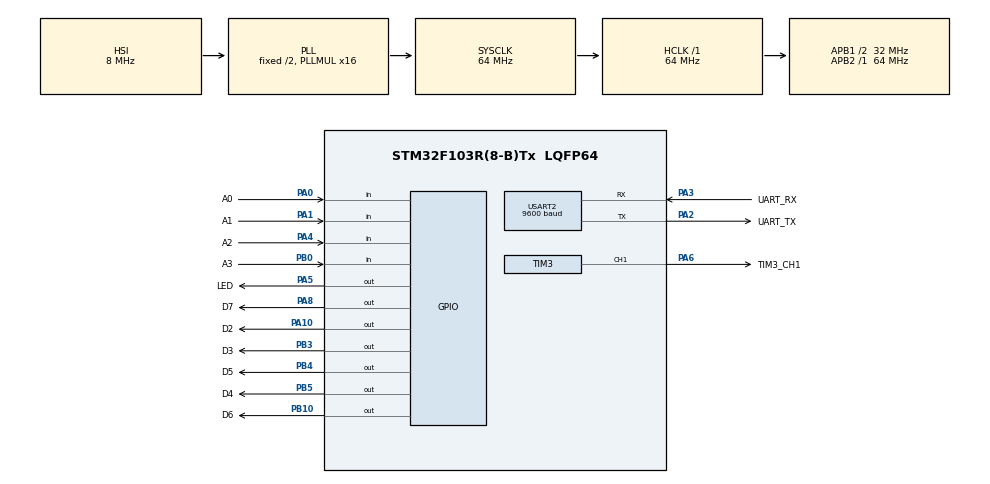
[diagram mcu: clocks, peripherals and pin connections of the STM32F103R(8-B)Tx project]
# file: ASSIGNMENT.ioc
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Mcu.Family=STM32F1
Mcu.Name=STM32F103R(8-B)Tx
Mcu.Package=LQFP64
NVIC.PriorityGroup=NVIC_PRIORITYGROUP_4
NVIC.TIM2_IRQn=true\:0\:0\:false\:false\:true\:true\:true
NVIC.TIM3_IRQn=true\:0\:0\:false\:false\:true\:true\:true
NVIC.USART2_IRQn=true\:0\:0\:false\:false\:true\:true\:true
PA0-WKUP.GPIO_Label=A0
PA0-WKUP.GPIO_PuPd=GPIO_PULLUP
PA0-WKUP.Signal=GPIO_Input
PA1.GPIO_Label=A1
PA1.GPIO_PuPd=GPIO_PULLUP
PA1.Signal=GPIO_Input
PA10.GPIO_Label=D2
PA10.Signal=GPIO_Output
PA13.Mode=Serial_Wire
PA13.Signal=SYS_JTMS-SWDIO
PA14.Mode=Serial_Wire
PA14.Signal=SYS_JTCK-SWCLK
PA2.GPIO_Label=UART_TX
PA2.Mode=Asynchronous
PA2.Signal=USART2_TX
PA3.GPIO_Label=UART_RX
PA3.Mode=Asynchronous
PA3.Signal=USART2_RX
PA4.GPIO_Label=A2
PA4.GPIO_PuPd=GPIO_PULLUP
PA4.Signal=GPIO_Input
PA5.GPIO_Label=LED
PA5.Signal=GPIO_Output
PA6.GPIO_Label=TIM3_CH1
PA6.Signal=S_TIM3_CH1
PA8.GPIO_Label=D7
PA8.Signal=GPIO_Output
PB0.GPIO_Label=A3
PB0.GPIO_PuPd=GPIO_PULLUP
PB0.Signal=GPIO_Input
PB10.GPIO_Label=D6
PB10.Signal=GPIO_Output
PB3.GPIO_Label=D3
PB3.Signal=GPIO_Output
PB4.GPIO_Label=D5
PB4.Signal=GPIO_Output
PB5.GPIO_Label=D4
PB5.Signal=GPIO_Output
ProjectManager.HeapSize=0x200
ProjectManager.StackSize=0x400
ProjectManager.TargetToolchain=STM32CubeIDE
RCC.AHBFreq_Value=64000000
RCC.APB1CLKDivider=RCC_HCLK_DIV2
RCC.APB1Freq_Value=32000000
RCC.APB1TimFreq_Value=64000000
RCC.APB2Freq_Value=64000000
RCC.APB2TimFreq_Value=64000000
RCC.HCLKFreq_Value=64000000
RCC.PLLMUL=RCC_PLL_MUL16
RCC.SYSCLKFreq_VALUE=64000000
RCC.SYSCLKSource=RCC_SYSCLKSOURCE_PLLCLK
RCC.USBFreq_Value=64000000
SH.S_TIM3_CH1.0=TIM3_CH1,PWM Generation1 CH1
TIM2.AutoReloadPreload=TIM_AUTORELOAD_PRELOAD_DISABLE
TIM2.Period=9
TIM2.Prescaler=63999
TIM3.AutoReloadPreload=TIM_AUTORELOAD_PRELOAD_ENABLE
TIM3.Channel-PWM\ Generation1\ CH1=TIM_CHANNEL_1
TIM3.Period=999
TIM3.Prescaler=63
USART2.BaudRate=9600
USART2.VirtualMode=VM_ASYNC
VP_TIM2_VS_ClockSourceINT.Mode=Internal
VP_TIM3_VS_ClockSourceINT.Mode=Internal
board=custom

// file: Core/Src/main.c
/* USER CODE BEGIN Header */
/**
  ******************************************************************************
  * @file           : main.c
  * @brief          : Main program body
  ******************************************************************************
  * @attention
  *
  * <h2><center>&copy; Copyright (c) 2022 STMicroelectronics.
  * All rights reserved.</center></h2>
  *
  * This software component is licensed by ST under BSD 3-Clause license,
  * the "License"; You may not use this file except in compliance with the
  * License. You may obtain a copy of the License at:
  *                        opensource.org/licenses/BSD-3-Clause
  *
  ******************************************************************************
  */
/* USER CODE END Header */
#include "main.h"

/* USER CODE BEGIN Includes */
#include "global.h"
#include "pedestrian.h"
#include "fsm_system.h"
/* USER CODE END Includes */

TIM_HandleTypeDef htim2;
TIM_HandleTypeDef htim3;

UART_HandleTypeDef huart2;

void SystemClock_Config(void);
static void MX_GPIO_Init(void);
static void MX_TIM2_Init(void);
static void MX_TIM3_Init(void);
static void MX_USART2_UART_Init(void);

int main(void)
{

  /* MCU Configuration--------------------------------------------------------*/

  /* Reset of all peripherals, Initializes the Flash interface and the Systick. */
  HAL_Init();

  /* Configure the system clock */
  SystemClock_Config();

  /* Initialize all configured peripherals */
  MX_GPIO_Init();
  MX_TIM2_Init();
  MX_TIM3_Init();
  MX_USART2_UART_Init();
  /* USER CODE BEGIN 2 */
  status = INIT;
  HAL_TIM_PWM_Start(&htim3, TIM_CHANNEL_1);
  HAL_TIM_Base_Start_IT(&htim2);
  /* USER CODE END 2 */

  /* Infinite loop */
  /* USER CODE BEGIN WHILE */
  setTimer1(100);
  while (1)
  {
    /* USER CODE END WHILE */

    /* USER CODE BEGIN 3 */
	  if(timer1_flag){
		  testLed();
		  setTimer1(500);
	  }
	  RunSystem();
	  if(status_pedestrian == PEDES_3 && status == PEDES_MODE){
		  if(timer4_flag){
			  __HAL_TIM_SET_COMPARE(&htim3, TIM_CHANNEL_1, count_ped_buzzer);
				  count_ped_buzzer += 5;
				  setTimer4(500);
		  }

	  }
	  else {
		  __HAL_TIM_SET_COMPARE(&htim3, TIM_CHANNEL_1, 0);

	  }
  }
  /* USER CODE END 3 */
}

void SystemClock_Config(void)
{
  RCC_OscInitTypeDef RCC_OscInitStruct = {0};
  RCC_ClkInitTypeDef RCC_ClkInitStruct = {0};

  /** Initializes the RCC Oscillators according to the specified parameters
  * in the RCC_OscInitTypeDef structure.
  */
  RCC_OscInitStruct.OscillatorType = RCC_OSCILLATORTYPE_HSI;
  RCC_OscInitStruct.HSIState = RCC_HSI_ON;
  RCC_OscInitStruct.HSICalibrationValue = RCC_HSICALIBRATION_DEFAULT;
  RCC_OscInitStruct.PLL.PLLState = RCC_PLL_ON;
  RCC_OscInitStruct.PLL.PLLSource = RCC_PLLSOURCE_HSI_DIV2;
  RCC_OscInitStruct.PLL.PLLMUL = RCC_PLL_MUL16;
  if (HAL_RCC_OscConfig(&RCC_OscInitStruct) != HAL_OK)
  {
    Error_Handler();
  }
  /** Initializes the CPU, AHB and APB buses clocks
  */
  RCC_ClkInitStruct.ClockType = RCC_CLOCKTYPE_HCLK|RCC_CLOCKTYPE_SYSCLK
                              |RCC_CLOCKTYPE_PCLK1|RCC_CLOCKTYPE_PCLK2;
  RCC_ClkInitStruct.SYSCLKSource = RCC_SYSCLKSOURCE_PLLCLK;
  RCC_ClkInitStruct.AHBCLKDivider = RCC_SYSCLK_DIV1;
  RCC_ClkInitStruct.APB1CLKDivider = RCC_HCLK_DIV2;
  RCC_ClkInitStruct.APB2CLKDivider = RCC_HCLK_DIV1;

  if (HAL_RCC_ClockConfig(&RCC_ClkInitStruct, FLASH_LATENCY_2) != HAL_OK)
  {
    Error_Handler();
  }
}

static void MX_TIM2_Init(void)
{

  TIM_ClockConfigTypeDef sClockSourceConfig = {0};
  TIM_MasterConfigTypeDef sMasterConfig = {0};

  htim2.Instance = TIM2;
  htim2.Init.Prescaler = 63999;
  htim2.Init.CounterMode = TIM_COUNTERMODE_UP;
  htim2.Init.Period = 9;
  htim2.Init.ClockDivision = TIM_CLOCKDIVISION_DIV1;
  htim2.Init.AutoReloadPreload = TIM_AUTORELOAD_PRELOAD_DISABLE;
  if (HAL_TIM_Base_Init(&htim2) != HAL_OK)
  {
    Error_Handler();
  }
  sClockSourceConfig.ClockSource = TIM_CLOCKSOURCE_INTERNAL;
  if (HAL_TIM_ConfigClockSource(&htim2, &sClockSourceConfig) != HAL_OK)
  {
    Error_Handler();
  }
  sMasterConfig.MasterOutputTrigger = TIM_TRGO_RESET;
  sMasterConfig.MasterSlaveMode = TIM_MASTERSLAVEMODE_DISABLE;
  if (HAL_TIMEx_MasterConfigSynchronization(&htim2, &sMasterConfig) != HAL_OK)
  {
    Error_Handler();
  }

}

static void MX_TIM3_Init(void)
{

  TIM_ClockConfigTypeDef sClockSourceConfig = {0};
  TIM_MasterConfigTypeDef sMasterConfig = {0};
  TIM_OC_InitTypeDef sConfigOC = {0};

  htim3.Instance = TIM3;
  htim3.Init.Prescaler = 63;
  htim3.Init.CounterMode = TIM_COUNTERMODE_UP;
  htim3.Init.Period = 999;
  htim3.Init.ClockDivision = TIM_CLOCKDIVISION_DIV1;
  htim3.Init.AutoReloadPreload = TIM_AUTORELOAD_PRELOAD_ENABLE;
  if (HAL_TIM_Base_Init(&htim3) != HAL_OK)
  {
    Error_Handler();
  }
  sClockSourceConfig.ClockSource = TIM_CLOCKSOURCE_INTERNAL;
  if (HAL_TIM_ConfigClockSource(&htim3, &sClockSourceConfig) != HAL_OK)
  {
    Error_Handler();
  }
  if (HAL_TIM_PWM_Init(&htim3) != HAL_OK)
  {
    Error_Handler();
  }
  sMasterConfig.MasterOutputTrigger = TIM_TRGO_RESET;
  sMasterConfig.MasterSlaveMode = TIM_MASTERSLAVEMODE_DISABLE;
  if (HAL_TIMEx_MasterConfigSynchronization(&htim3, &sMasterConfig) != HAL_OK)
  {
    Error_Handler();
  }
  sConfigOC.OCMode = TIM_OCMODE_PWM1;
  sConfigOC.Pulse = 0;
  sConfigOC.OCPolarity = TIM_OCPOLARITY_HIGH;
  sConfigOC.OCFastMode = TIM_OCFAST_DISABLE;
  if (HAL_TIM_PWM_ConfigChannel(&htim3, &sConfigOC, TIM_CHANNEL_1) != HAL_OK)
  {
    Error_Handler();
  }
  HAL_TIM_MspPostInit(&htim3);

}

static void MX_USART2_UART_Init(void)
{

  huart2.Instance = USART2;
  huart2.Init.BaudRate = 9600;
  huart2.Init.WordLength = UART_WORDLENGTH_8B;
  huart2.Init.StopBits = UART_STOPBITS_1;
  huart2.Init.Parity = UART_PARITY_NONE;
  huart2.Init.Mode = UART_MODE_TX_RX;
  huart2.Init.HwFlowCtl = UART_HWCONTROL_NONE;
  huart2.Init.OverSampling = UART_OVERSAMPLING_16;
  if (HAL_UART_Init(&huart2) != HAL_OK)
  {
    Error_Handler();
  }

}

static void MX_GPIO_Init(void)
{
  GPIO_InitTypeDef GPIO_InitStruct = {0};

  /* GPIO Ports Clock Enable */
  __HAL_RCC_GPIOA_CLK_ENABLE();
  __HAL_RCC_GPIOB_CLK_ENABLE();

  /*Configure GPIO pin Output Level */
  HAL_GPIO_WritePin(GPIOA, LED_Pin|D7_Pin|D2_Pin, GPIO_PIN_RESET);

  /*Configure GPIO pin Output Level */
  HAL_GPIO_WritePin(GPIOB, D6_Pin|D3_Pin|D5_Pin|D4_Pin, GPIO_PIN_RESET);

  /*Configure GPIO pins : A0_Pin A1_Pin A2_Pin */
  GPIO_InitStruct.Pin = A0_Pin|A1_Pin|A2_Pin;
  GPIO_InitStruct.Mode = GPIO_MODE_INPUT;
  GPIO_InitStruct.Pull = GPIO_PULLUP;
  HAL_GPIO_Init(GPIOA, &GPIO_InitStruct);

  /*Configure GPIO pins : LED_Pin D7_Pin D2_Pin */
  GPIO_InitStruct.Pin = LED_Pin|D7_Pin|D2_Pin;
  GPIO_InitStruct.Mode = GPIO_MODE_OUTPUT_PP;
  GPIO_InitStruct.Pull = GPIO_NOPULL;
  GPIO_InitStruct.Speed = GPIO_SPEED_FREQ_LOW;
  HAL_GPIO_Init(GPIOA, &GPIO_InitStruct);

  /*Configure GPIO pin : A3_Pin */
  GPIO_InitStruct.Pin = A3_Pin;
  GPIO_InitStruct.Mode = GPIO_MODE_INPUT;
  GPIO_InitStruct.Pull = GPIO_PULLUP;
  HAL_GPIO_Init(A3_GPIO_Port, &GPIO_InitStruct);

  /*Configure GPIO pins : D6_Pin D3_Pin D5_Pin D4_Pin */
  GPIO_InitStruct.Pin = D6_Pin|D3_Pin|D5_Pin|D4_Pin;
  GPIO_InitStruct.Mode = GPIO_MODE_OUTPUT_PP;
  GPIO_InitStruct.Pull = GPIO_NOPULL;
  GPIO_InitStruct.Speed = GPIO_SPEED_FREQ_LOW;
  HAL_GPIO_Init(GPIOB, &GPIO_InitStruct);

}

/* USER CODE BEGIN 4 */
void HAL_TIM_PeriodElapsedCallback(TIM_HandleTypeDef * htim){
	timerRun();
	ReadingButton();
}
/* USER CODE END 4 */

void Error_Handler(void)
{
  __disable_irq();
  while (1)
  {
  }
}

/************************ (C) COPYRIGHT STMicroelectronics *****END OF FILE****/
